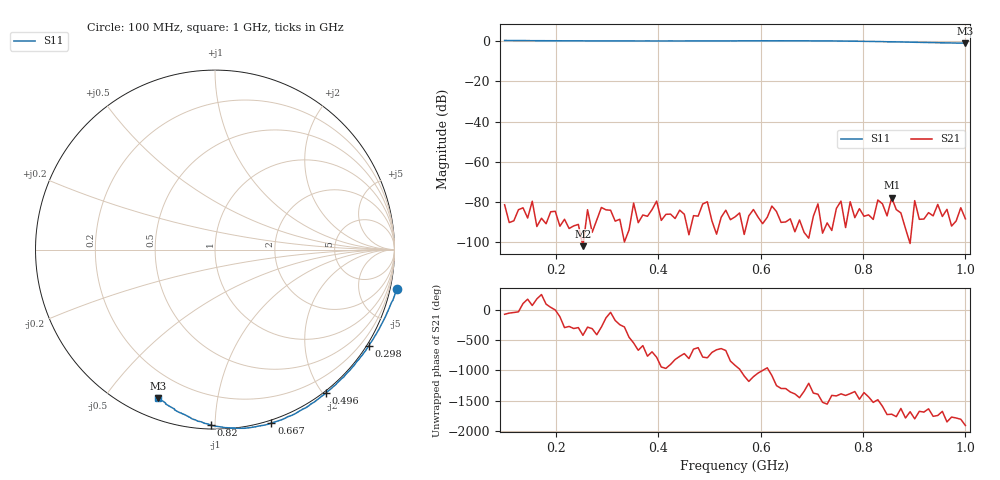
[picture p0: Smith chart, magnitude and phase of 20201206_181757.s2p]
# HZ S RI R 50
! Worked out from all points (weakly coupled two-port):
!   101 points, 100 MHz to 1 GHz, reference 50 ohm
!   highest |S21| = -77.79 dB at 856 MHz (marker M1); lowest = -101.9 dB at 253 MHz (marker M2)
!   lowest |S11| = -1.0 dB at 1 GHz (marker M3), VSWR 16.75, Z = 4.39 - j34.3 ohm
!   |S11| at or under -10 dB: nowhere
!   S12 and S22 are empty: the file has one direction only
!   S11 on the Smith chart (normalised r, x): 100 MHz: -1.54, -9.06; 298 MHz: -0.07, -3.48; 496 MHz: -0.03, -2.04; 667 MHz: -0.02, -1.38; 820 MHz: 0.02, -0.98; 1 GHz: 0.09, -0.69
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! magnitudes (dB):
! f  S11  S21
! 100 MHz  0.3  -81.3
! 253 MHz  0.1  -101.9
! 298 MHz  0.1  -83.8
! 388 MHz  0.1  -83.7
! 397 MHz  0.1  -79.5
! 406 MHz  0.1  -89.1
! 496 MHz  0.1  -79.9
! 550 MHz  0.1  -87.4
! 667 MHz  0.1  -94.7
! 703 MHz  0.1  -87.1
! 757 MHz  0.0  -79.5
! 766 MHz  0.0  -92.7
! 820 MHz  -0.2  -88.6
! 829 MHz  -0.2  -79.0
! 838 MHz  -0.3  -80.9
! 847 MHz  -0.3  -86.8
! 856 MHz  -0.3  -77.8
! 865 MHz  -0.4  -83.7
! 892 MHz  -0.5  -100.6
! 901 MHz  -0.6  -79.3
! 910 MHz  -0.6  -88.6
! 1 GHz  -1.0  -88.3
